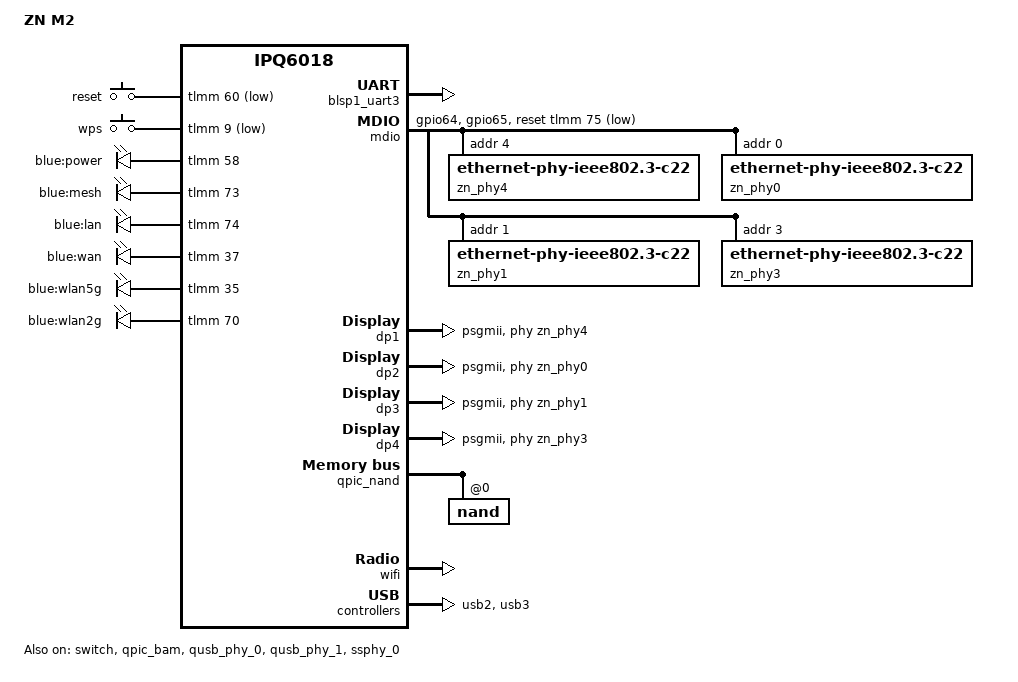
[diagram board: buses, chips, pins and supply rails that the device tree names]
// SPDX-License-Identifier: GPL-2.0-only
// Hardware wiring is derived from the current device's saved FIT DTB.
// Experimental Linux 6.12 port; runtime compatibility is unverified.
/dts-v1/;

#include "ipq6018-512m.dtsi"
#include "ipq6018-ess.dtsi"
#include <dt-bindings/gpio/gpio.h>
#include <dt-bindings/input/input.h>

/ {
	model = "ZN M2";
	compatible = "zn,m2", "qcom,ipq6018";

	aliases {
		serial0 = &blsp1_uart3;
		ethernet0 = &dp1;
		ethernet1 = &dp2;
		ethernet2 = &dp3;
		ethernet3 = &dp4;
		led-boot = &led_power;
		led-failsafe = &led_power;
		led-running = &led_power;
		led-upgrade = &led_power;
	};

	chosen {
		stdout-path = "serial0:115200n8";
		bootargs-append = " root=/dev/ubiblock0_1";
	};

	keys {
		compatible = "gpio-keys";
		reset {
			label = "reset";
			gpios = <&tlmm 60 GPIO_ACTIVE_LOW>;
			linux,code = <KEY_RESTART>;
		};
		wps {
			label = "wps";
			gpios = <&tlmm 9 GPIO_ACTIVE_LOW>;
			linux,code = <KEY_WPS_BUTTON>;
		};
	};

	leds {
		compatible = "gpio-leds";
		pinctrl-0 = <&zn_led_pins>;
		pinctrl-names = "default";
		led_power: power { label = "blue:power"; gpios = <&tlmm 58 GPIO_ACTIVE_HIGH>; };
		mesh { label = "blue:mesh"; gpios = <&tlmm 73 GPIO_ACTIVE_HIGH>; };
		lan { label = "blue:lan"; gpios = <&tlmm 74 GPIO_ACTIVE_HIGH>; };
		wan { label = "blue:wan"; gpios = <&tlmm 37 GPIO_ACTIVE_HIGH>; };
		wlan5g { label = "blue:wlan5g"; gpios = <&tlmm 35 GPIO_ACTIVE_HIGH>; };
		wlan2g { label = "blue:wlan2g"; gpios = <&tlmm 70 GPIO_ACTIVE_HIGH>; };
	};
};

&blsp1_uart3 { status = "okay"; };

&tlmm {
	zn_mdio_pins: zn-mdio-pins {
		mdc { pins = "gpio64"; function = "mdc"; drive-strength = <8>; bias-pull-up; };
		mdio { pins = "gpio65"; function = "mdio"; drive-strength = <8>; bias-pull-up; };
	};
	zn_led_pins: zn-led-pins {
		mux {
			pins = "gpio35", "gpio37", "gpio58", "gpio70", "gpio73", "gpio74";
			function = "gpio";
			drive-strength = <8>;
			bias-pull-down;
		};
	};
};

&mdio {
	status = "okay";
	pinctrl-0 = <&zn_mdio_pins>;
	pinctrl-names = "default";
	reset-gpios = <&tlmm 75 GPIO_ACTIVE_LOW>;
	zn_phy4: ethernet-phy@4 { compatible = "ethernet-phy-ieee802.3-c22"; reg = <4>; };
	zn_phy0: ethernet-phy@0 { compatible = "ethernet-phy-ieee802.3-c22"; reg = <0>; };
	zn_phy1: ethernet-phy@1 { compatible = "ethernet-phy-ieee802.3-c22"; reg = <1>; };
	zn_phy3: ethernet-phy@3 { compatible = "ethernet-phy-ieee802.3-c22"; reg = <3>; };
};

&switch {
	status = "okay";
	switch_lan_bmp = <0x16>;
	switch_wan_bmp = <0x20>;
	switch_mac_mode = <0>;
	switch_mac_mode1 = <0>;
	switch_mac_mode2 = <0>;
	qcom,port_phyinfo {
		port@1 { port_id = <1>; phy_address = <0>; };
		port@2 { port_id = <2>; phy_address = <1>; };
		port@4 { port_id = <4>; phy_address = <3>; };
		port@5 { port_id = <5>; phy_address = <4>; };
	};
};

&edma { status = "okay"; };
&dp1 { qcom,id = <5>; phy-handle = <&zn_phy4>; phy-mode = "psgmii"; label = "wan"; status = "okay"; };
&dp2 { qcom,id = <1>; phy-handle = <&zn_phy0>; phy-mode = "psgmii"; label = "lan1"; status = "okay"; };
&dp3 { qcom,id = <2>; phy-handle = <&zn_phy1>; phy-mode = "psgmii"; label = "lan2"; status = "okay"; };
&dp4 { qcom,id = <4>; phy-handle = <&zn_phy3>; phy-mode = "psgmii"; label = "lan3"; status = "okay"; };
&dp5 { status = "disabled"; };

&qpic_bam { status = "okay"; };
&qpic_nand {
	status = "okay";
	nand@0 {
		reg = <0>;
		nand-ecc-strength = <4>;
		nand-ecc-step-size = <512>;
		nand-bus-width = <8>;
		partitions { compatible = "qcom,smem-part"; };
	};
};

&wifi {
	qcom,ath11k-calibration-variant = "ZN-M2";
	qcom,ath11k-fw-memory-mode = <2>;
	status = "okay";
};

&qusb_phy_0 { status = "okay"; };
&qusb_phy_1 { status = "okay"; };
&ssphy_0 { status = "okay"; };
&usb2 { status = "okay"; };
&usb3 { status = "okay"; };
